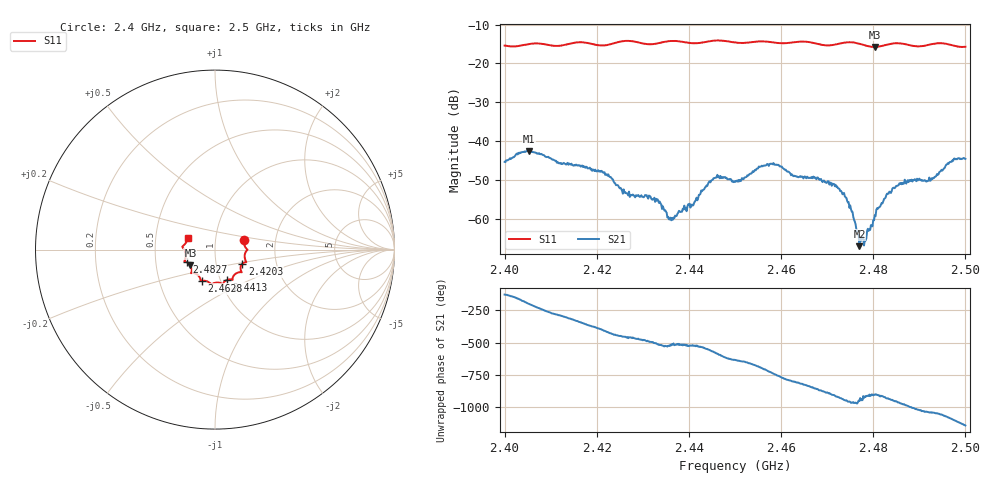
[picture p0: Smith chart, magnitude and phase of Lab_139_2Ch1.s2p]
# Hz S RI R 50
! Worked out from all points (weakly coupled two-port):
!   601 points, 2.4 GHz to 2.5 GHz, reference 50 ohm
!   highest |S21| = -42.51 dB at 2.4053 GHz (marker M1); lowest = -67.0 dB at 2.477 GHz (marker M2)
!   lowest |S11| = -15.8 dB at 2.4803 GHz (marker M3), VSWR 1.39, Z = 37.4 - j6.76 ohm
!   |S11| at or under -10 dB: start of sweep to end of sweep
!   S12 and S22 are empty: the file has one direction only
!   S11 on the Smith chart (normalised r, x): 2.4 GHz: 1.38, +0.15; 2.4203 GHz: 1.34, -0.22; 2.4413 GHz: 1.08, -0.38; 2.4628 GHz: 0.82, -0.29; 2.4827 GHz: 0.72, -0.10; 2.5 GHz: 0.73, +0.10
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2.4e9  0.1616 0.0529  -0.00324 -0.00434  0 0  0 0
2.405333e9  0.1781 0.00251  -0.00701 0.00264  0 0  0 0
2.416667e9  0.1743 -0.0692  0.00454 0.00134  0 0  0 0
2.420333e9  0.1522 -0.0795  0.00365 -0.0021  0 0  0 0
2.426833e9  0.149 -0.1263  -0.000516 -0.00194  0 0  0 0
2.433333e9  0.1001 -0.1522  -0.00152 -0.000799  0 0  0 0
2.436167e9  0.0981 -0.1682  -0.000904 -0.000316  0 0  0 0
2.441333e9  0.0672 -0.1692  -0.0016 -0.000512  0 0  0 0
2.445667e9  0.043 -0.1924  -0.00273 0.00199  0 0  0 0
2.45e9  0.0244 -0.1845  0.000181 0.00304  0 0  0 0
2.458e9  -0.0297 -0.1852  0.00497 -0.00124  0 0  0 0
2.462833e9  -0.072 -0.1736  0.000415 -0.00356  0 0  0 0
2.466667e9  -0.0806 -0.1675  -0.00209 -0.00275  0 0  0 0
2.473167e9  -0.1282 -0.1304  -0.00182 0.00124  0 0  0 0
2.475e9  -0.1339 -0.1314  -0.00077 0.00128  0 0  0 0
2.477e9  -0.1307 -0.1234  -0.000281 0.000345  0 0  0 0
2.478e9  -0.1292 -0.1146  -0.000402 0.000212  0 0  0 0
2.480333e9  -0.137 -0.0879  -0.00111 7.94e-05  0 0  0 0
2.482667e9  -0.1578 -0.0705  -0.00167 0.000846  0 0  0 0
2.483333e9  -0.163 -0.0683  -0.00173 0.00121  0 0  0 0
2.492833e9  -0.1777 0.00888  0.0025 0.00205  0 0  0 0
2.5e9  -0.151 0.0645  0.00282 -0.0052  0 0  0 0
